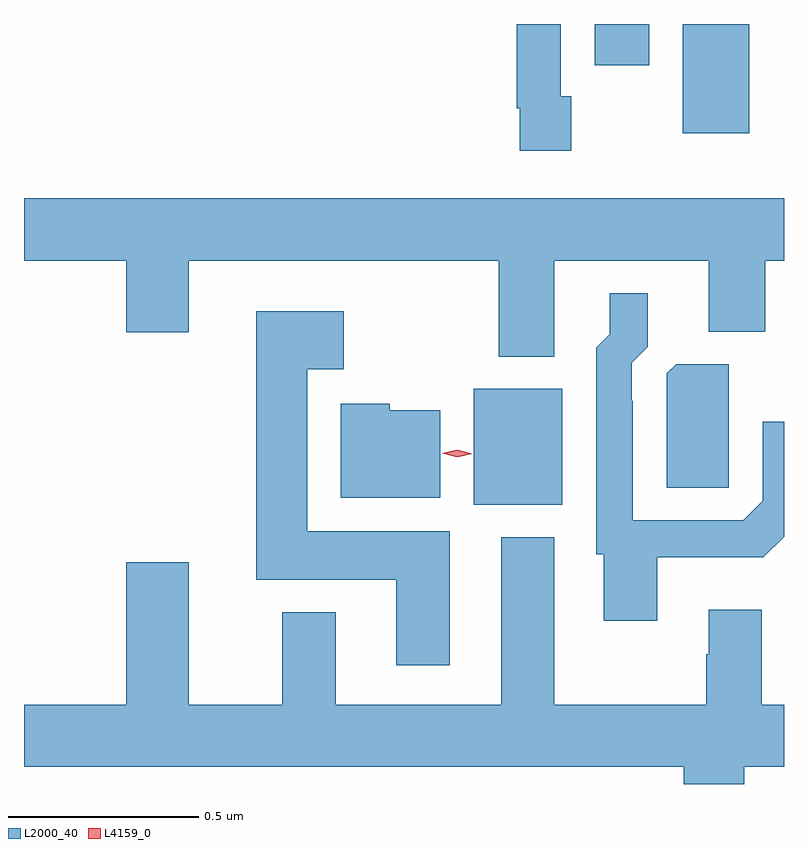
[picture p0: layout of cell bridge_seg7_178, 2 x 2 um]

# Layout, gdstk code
import gdstk
lib = gdstk.Library(unit=1e-6, precision=1e-09)
def R(c, l, rs):  # rectangles x0, y0, x1, y1
    for r in rs: c.add(gdstk.rectangle(r[:2], r[2:], *l))
def P(c, l, *ps):  # polygons
    for p in ps: c.add(gdstk.Polygon(p, *l))
L2000_40 = (2000, 40)
L4159_0 = (4159, 0)

bridge_seg7_178 = lib.new_cell('bridge_seg7_178')
R(bridge_seg7_178, L2000_40, [(453.635,1029.278,453.868,1029.583), (454.184,1030.256,454.36,1030.543), (453.953,1030.434,454.096,1030.543)])
P(bridge_seg7_178, L2000_40, [(453.891,1030.353),(453.864,1030.353),(453.864,1030.543),(453.748,1030.543),(453.748,1030.321),(453.756,1030.321),(453.756,1030.209),(453.891,1030.209)],
  [(453.847,1029.92),(454.253,1029.92),(454.253,1029.733),(454.401,1029.733),(454.401,1029.92),(454.451,1029.92),(454.451,1030.084),(452.451,1030.084),(452.451,1029.92),(452.72,1029.92),(452.72,1029.732),(452.884,1029.732),(452.884,1029.92),(453.7,1029.92),(453.7,1029.668),(453.847,1029.668)],
  [(454.117,1029.14),(454.397,1029.14),(454.451,1029.194),(454.451,1029.496),(454.395,1029.496),(454.395,1029.288),(454.344,1029.237),(454.053,1029.237),(454.053,1029.551),(454.05,1029.551),(454.05,1029.651),(454.093,1029.694),(454.093,1029.835),(453.992,1029.835),(453.992,1029.726),(453.957,1029.691),(453.957,1029.147),(453.977,1029.147),(453.977,1028.973),(454.117,1028.973)],
  [(453.571,1029.208),(453.196,1029.208),(453.196,1029.635),(453.292,1029.635),(453.292,1029.787),(453.062,1029.787),(453.062,1029.08),(453.431,1029.08),(453.431,1028.856),(453.571,1028.856)],
  [(454.305,1029.433),(454.306,1029.433),(454.306,1029.648),(454.167,1029.648),(454.143,1029.624),(454.143,1029.322),(454.305,1029.322)],
  [(453.547,1029.526),(453.414,1029.526),(453.414,1029.544),(453.284,1029.544),(453.284,1029.296),(453.547,1029.296)],
  [(454.347,1028.588),(454.451,1028.588),(454.451,1028.752),(454.393,1028.752),(454.393,1029.001),(454.253,1029.001),(454.253,1028.885),(454.246,1028.885),(454.246,1028.752),(453.847,1028.752),(453.847,1029.193),(453.707,1029.193),(453.707,1028.752),(453.271,1028.752),(453.271,1028.995),(453.131,1028.995),(453.131,1028.752),(452.884,1028.752),(452.884,1029.127),(452.72,1029.127),(452.72,1028.752),(452.451,1028.752),(452.451,1028.588),(454.187,1028.588),(454.187,1028.543),(454.347,1028.543)])
P(bridge_seg7_178, L4159_0, [(453.591,1029.403),(453.552,1029.413),(453.552,1029.413),(453.552,1029.413),(453.591,1029.423),(453.63,1029.412),(453.63,1029.412),(453.63,1029.412)])

lib.write_gds('bridge_seg7_178.gds')
